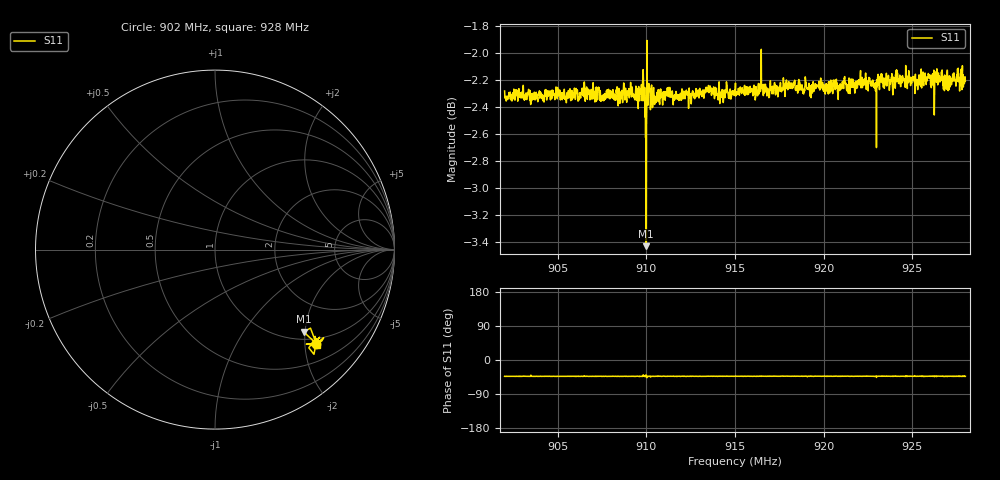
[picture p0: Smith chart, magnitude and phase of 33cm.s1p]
! Calibrated averaged scanner-service zoom
# Hz S RI R 50
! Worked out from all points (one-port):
!   2001 points, 902 MHz to 928 MHz, reference 50 ohm
!   lowest |S11| = -3.4 dB at 910 MHz (marker M1), VSWR 5.13, Z = 58.6 - j98.3 ohm
!   |S11| at or under -10 dB: nowhere
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9.02e8  0.5609 -0.5257
9.03521e8  0.5578 -0.5196
9.0525e8  0.5576 -0.5209
9.06264e8  0.5566 -0.5241
9.06602e8  0.5621 -0.5244
9.06797e8  0.5577 -0.5243
9.085e8  0.5521 -0.5233
9.09644e8  0.5602 -0.5231
9.09709e8  0.5625 -0.5239
9.098e8  0.5783 -0.5188
9.09878e8  0.5646 -0.5206
9.09995e8  0.4938 -0.458
9.10086e8  0.5529 -0.5207
9.10151e8  0.5644 -0.5272
9.1019e8  0.5666 -0.5216
9.10632e8  0.56 -0.5228
9.1175e8  0.559 -0.5211
9.15e8  0.5623 -0.5251
9.1825e8  0.5674 -0.5227
9.215e8  0.5626 -0.5266
9.22657e8  0.5677 -0.5262
9.22904e8  0.5695 -0.5237
9.23177e8  0.5679 -0.5266
9.2475e8  0.5687 -0.5299
9.25257e8  0.5675 -0.528
9.2579e8  0.5661 -0.5264
9.26193e8  0.5711 -0.5197
9.28e8  0.5667 -0.5292
